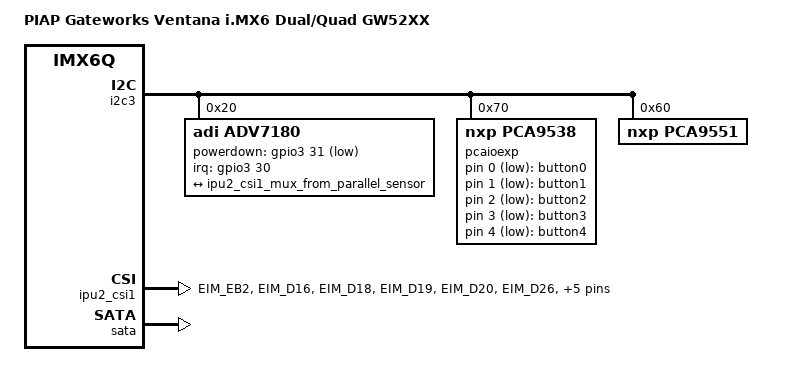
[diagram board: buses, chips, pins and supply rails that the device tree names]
/*
 * Copyright 2013 Gateworks Corporation
 *
 * The code contained herein is licensed under the GNU General Public
 * License. You may obtain a copy of the GNU General Public License
 * Version 2 or later at the following locations:
 *
 * http://www.opensource.org/licenses/gpl-license.html
 * http://www.gnu.org/copyleft/gpl.html
 */

/dts-v1/;
#include "imx6q.dtsi"
#include "imx6qdl-gw52xx.dtsi"
#include <dt-bindings/leds/leds-pca955x.h>
#include <dt-bindings/input/linux-event-codes.h>

/ {
	model = "PIAP Gateworks Ventana i.MX6 Dual/Quad GW52XX";
	compatible = "gw,imx6q-gw52xx", "gw,ventana", "fsl,imx6q";
};

&i2c3 {
	adv7180: camera@20 {
		compatible = "adi,adv7180";
		pinctrl-names = "default";
		pinctrl-0 = <&pinctrl_adv7180>;
		reg = <0x20>;
		powerdown-gpios = <&gpio3 31 GPIO_ACTIVE_LOW>;
		interrupt-parent = <&gpio3>;
		interrupts = <30 IRQ_TYPE_LEVEL_LOW>;

		port {
			adv7180_to_ipu2_csi1_mux: endpoint {
				remote-endpoint = <&ipu2_csi1_mux_from_parallel_sensor>;
				bus-width = <8>;
			};
		};
	};
};

&ipu2_csi1_from_ipu2_csi1_mux {
	bus-width = <8>;
};

&ipu2_csi1_mux_from_parallel_sensor {
	remote-endpoint = <&adv7180_to_ipu2_csi1_mux>;
	bus-width = <8>;
};

&ipu2_csi1 {
	pinctrl-names = "default";
	pinctrl-0 = <&pinctrl_ipu2_csi1>;
};

&iomuxc {
	pinctrl_adv7180: adv7180grp {
		fsl,pins = <
			MX6QDL_PAD_EIM_D30__GPIO3_IO30          0x0001b0b0
			MX6QDL_PAD_EIM_D31__GPIO3_IO31          0x4001b0b0
		>;
	};

	pinctrl_ipu2_csi1: ipu2_csi1grp {
		fsl,pins = <
			MX6QDL_PAD_EIM_EB2__IPU2_CSI1_DATA19    0x1b0b0
			MX6QDL_PAD_EIM_D16__IPU2_CSI1_DATA18    0x1b0b0
			MX6QDL_PAD_EIM_D18__IPU2_CSI1_DATA17    0x1b0b0
			MX6QDL_PAD_EIM_D19__IPU2_CSI1_DATA16    0x1b0b0
			MX6QDL_PAD_EIM_D20__IPU2_CSI1_DATA15    0x1b0b0
			MX6QDL_PAD_EIM_D26__IPU2_CSI1_DATA14    0x1b0b0
			MX6QDL_PAD_EIM_D27__IPU2_CSI1_DATA13    0x1b0b0
			MX6QDL_PAD_EIM_A17__IPU2_CSI1_DATA12    0x1b0b0
			MX6QDL_PAD_EIM_D29__IPU2_CSI1_VSYNC     0x1b0b0
			MX6QDL_PAD_EIM_EB3__IPU2_CSI1_HSYNC     0x1b0b0
			MX6QDL_PAD_EIM_A16__IPU2_CSI1_PIXCLK    0x1b0b0
		>;
	};
};

&sata {
	status = "okay";
};

&i2c3 {
	pcaioexp: gpio@70 {
		compatible = "nxp,pca9538";
		reg = <0x70>;

		gpio-controller;
		#gpio-cells = <2>;
	};

	pca9551: pca9551@60 {
		compatible = "nxp,pca9551";
		#address-cells = <1>;
		#size-cells = <0>;
		reg = <0x60>;

		/*
		gpio-controller;
		#gpio-cells = <2>;
		gpio-line-names = "GPIO0", "GPIO1", "GPIO2", "GPIO3", "GPIO4", "GPIO5", "GPIO6", "GPIO7";
		*/

		led@0 {
			label = "pca9551_0";
			reg = <0>;
			type = <PCA955X_TYPE_LED>;
		};
		/*
		gpio@0 {
			reg = <0>;
			type = <PCA955X_TYPE_GPIO>;
		};
		*/
		led@1 {
			label = "pca9551_1";
			reg = <1>;
			type = <PCA955X_TYPE_LED>;
		};
		led@2 {
			label = "pca9551_2";
			reg = <2>;
			type = <PCA955X_TYPE_LED>;
		};
		led@3 {
			label = "pca9551_3";
			reg = <3>;
			type = <PCA955X_TYPE_LED>;
		};
		led@4 {
			label = "pca9551_4";
			reg = <4>;
			type = <PCA955X_TYPE_LED>;
		};
		led@5 {
			label = "pca9551_5";
			reg = <5>;
			type = <PCA955X_TYPE_LED>;
		};
		led@6 {
			label = "pca9551_6";
			reg = <6>;
			type = <PCA955X_TYPE_LED>;
		};
		led@7 {
			label = "pca9551_7";
			reg = <7>;
			type = <PCA955X_TYPE_LED>;
		};
	};
};

/ {
	polled_keyboard {
		compatible = "gpio-keys-polled";
		poll-interval = <50>;
		autorepeat;

		button0 {
			label = "button0";
			linux,code = <KEY_LEFT>;
			gpios = <&pcaioexp 0 1>;
		};
		button1 {
			label = "button1";
			linux,code = <KEY_ENTER>;
			gpios = <&pcaioexp 1 1>;
		};
		button2 {
			label = "button2";
			linux,code = <KEY_UP>;
			gpios = <&pcaioexp 2 1>;
		};
		button3 {
			label = "button3";
			linux,code = <KEY_RIGHT>;
			gpios = <&pcaioexp 3 1>;
		};
		button4 {
			label = "button4";
			linux,code = <KEY_DOWN>;
			gpios = <&pcaioexp 4 1>;
		};
	};
};

